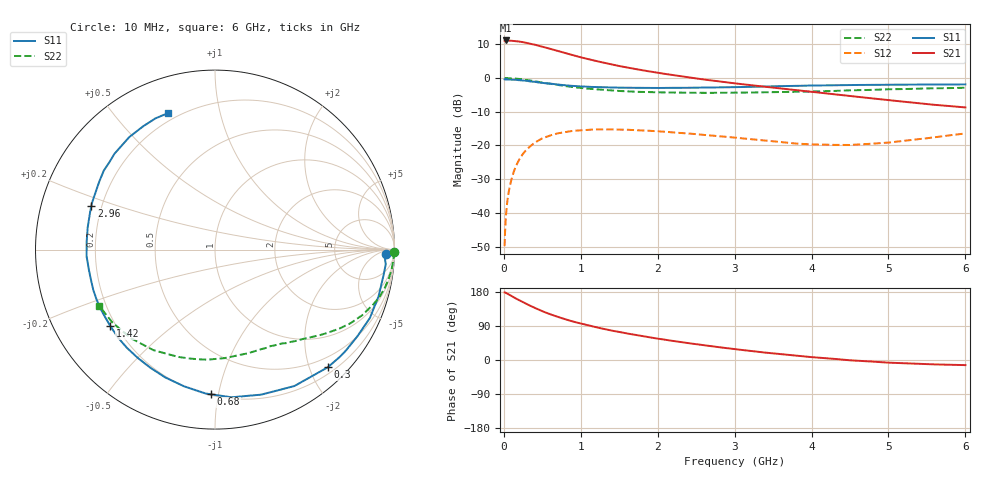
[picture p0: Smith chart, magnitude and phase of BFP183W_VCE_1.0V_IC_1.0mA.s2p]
! Infineon Technologies  Discrete & RF Semiconductors
! BFP183W
! VCE = 1.0 V,  IC =  1.0 mA
! Common Emitter S-Parameters:  Jan 2016
# GHz  S  MA  R  50
!  f  S11  S21  S12  S22
! GHz  MAG  ANG  MAG  ANG  MAG  ANG  MAG  ANG
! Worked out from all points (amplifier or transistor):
!   210 points, 10 MHz to 6 GHz, reference 50 ohm
!   highest |S21| = 11.1 dB at 30 MHz (marker M1)
!   |S21| within 3 dB of that: start of sweep to 689 MHz
!   unconditionally stable (mu >= 1): 2.604 GHz to end of sweep
!   at 185 MHz: K = 0.08, MSG = 17.9 dB, |S12| = -24.9 dB
!   at 1.52 GHz: K = 0.58, MSG = 9.4 dB, |S12| = -15.3 dB
!   at 6 GHz: K = 1.30, MAG = 0.6 dB, |S12| = -16.4 dB
!   S11 on the Smith chart (normalised r, x): 10 MHz: 32, -20; 300 MHz: 0.31, -2.31; 680 MHz: 0.21, -0.95; 1.42 GHz: 0.18, -0.32; 2.96 GHz: 0.16, +0.17; 6 GHz: 0.16, +0.70
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0.01  0.9557 -1.6  3.575 178.3  0.0032 90.0  0.9983 -0.7
0.02  0.9488 -3.3  3.59 177.9  0.0066 86.6  0.9976 -1.4
0.03  0.9548 -4.9  3.607 176.9  0.0098 86.1  0.9964 -2.0
0.065  0.948 -10.3  3.586 172.8  0.0209 83.0  0.9932 -4.4
0.125  0.9434 -19.8  3.55 166.0  0.0393 77.4  0.9844 -8.3
0.2  0.9285 -31.5  3.472 157.5  0.0616 70.9  0.9683 -13.1
0.3  0.9082 -46.2  3.31 147.1  0.0879 61.8  0.9348 -18.9
0.4  0.8795 -59.8  3.129 137.7  0.1096 53.7  0.8975 -24.1
0.5  0.8482 -72.3  2.92 128.6  0.1275 46.7  0.8594 -28.5
0.68  0.8064 -91.6  2.569 115.2  0.1488 35.9  0.7952 -34.9
0.8  0.7808 -102.8  2.342 107.3  0.1585 29.9  0.7593 -38.7
1.02  0.7479 -119.8  2.002 95.1  0.1687 20.8  0.7083 -44.2
1.2  0.7352 -131.9  1.787 86.3  0.173 14.7  0.6798 -48.5
1.42  0.722 -144.0  1.573 77.0  0.1731 8.8  0.6535 -52.9
1.6  0.7182 -153.2  1.438 70.0  0.1709 5.2  0.6357 -56.3
2.02  0.7115 -170.4  1.187 55.8  0.1615 -1.9  0.6126 -64.6
2.4  0.7164 176.5  1.023 44.4  0.1508 -6.5  0.6061 -72.5
2.96  0.7309 160.4  0.845 29.7  0.1319 -9.0  0.6061 -84.3
3.1  0.7351 156.7  0.809 26.4  0.1273 -8.8  0.6077 -87.4
4.1  0.7752 134.6  0.606 6.1  0.1029 2.5  0.6344 -111.5
5.1  0.796 119.1  0.457 -7.8  0.1136 21.7  0.6827 -135.7
6  0.8045 108.8  0.366 -13.5  0.1505 29.2  0.7174 -154.1
